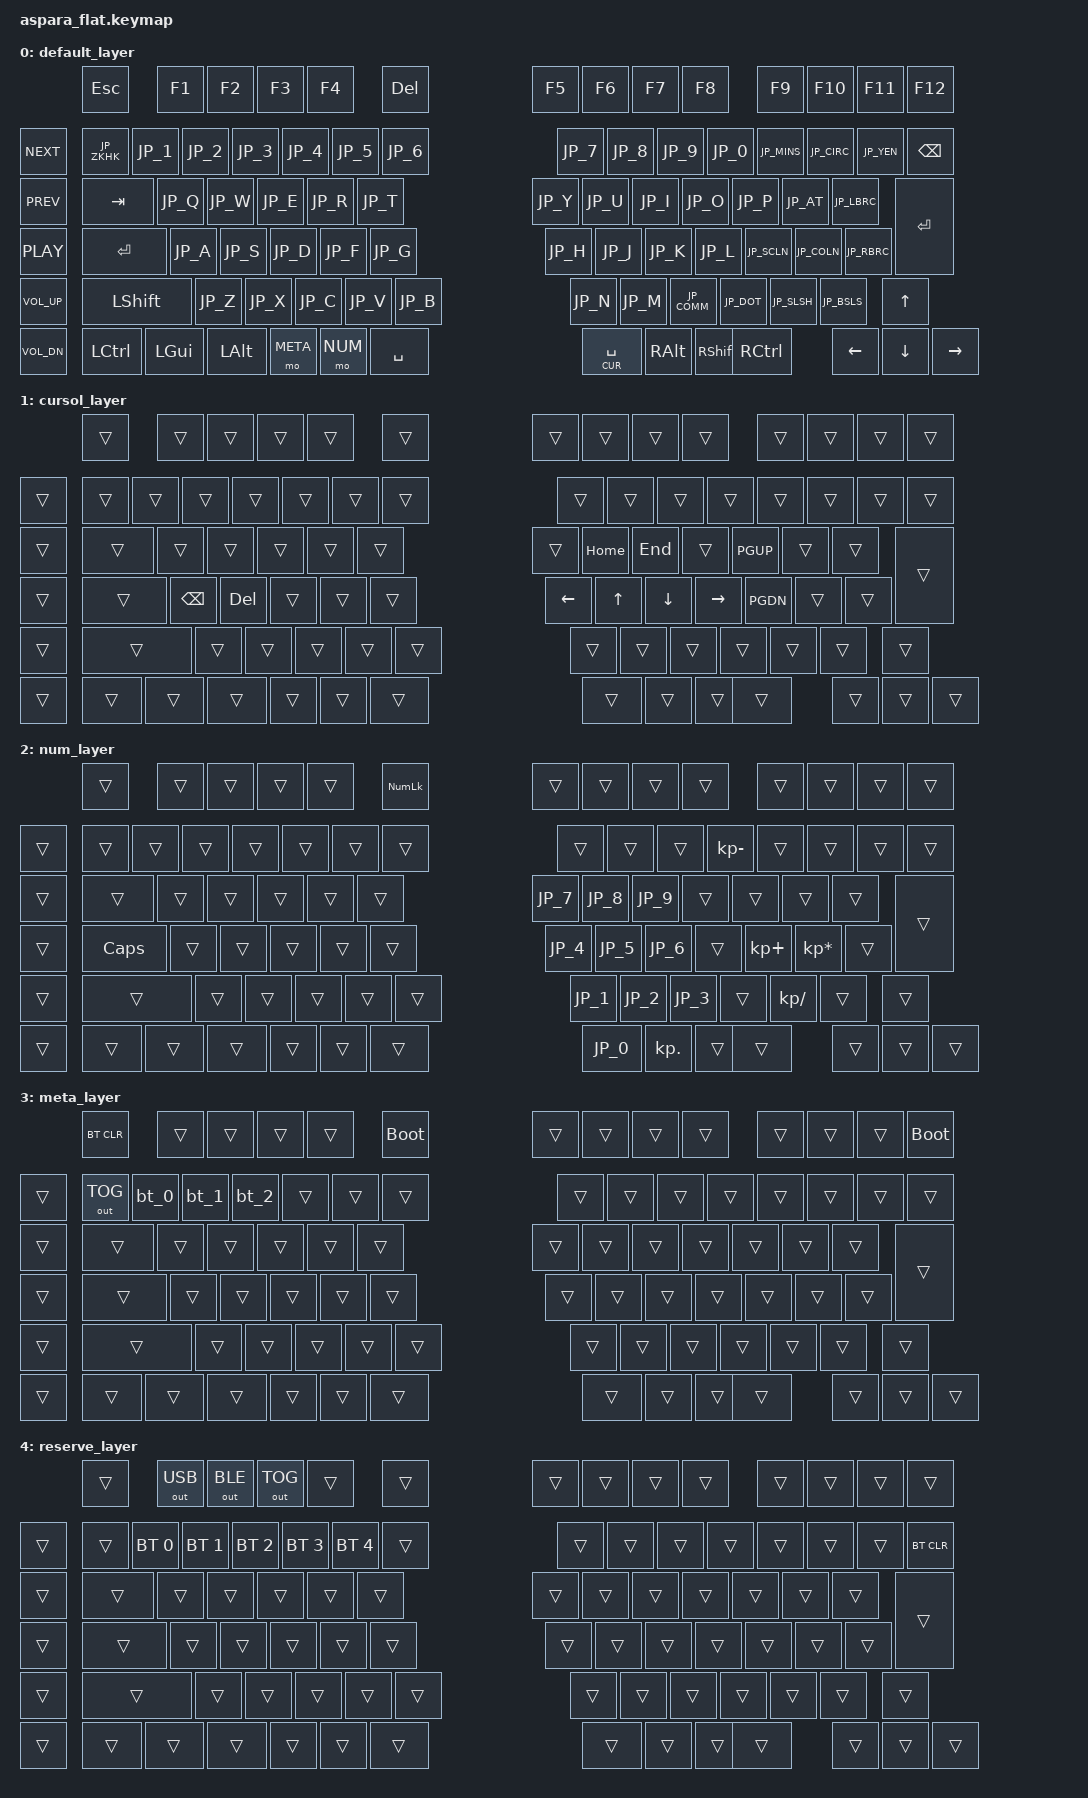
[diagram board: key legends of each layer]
/*
 * Copyright (c) 2026
 *
 * SPDX-License-Identifier: MIT
 */

#include <behaviors.dtsi>
#include <dt-bindings/zmk/keys_jp_aliases.h>
#include <dt-bindings/zmk/outputs.h>
#include <dt-bindings/zmk/bt.h>

#define DEF 0
#define CUR 1
#define NUM 2
#define META 3

/ {
        macros {
        bt_0: bt_profile_macro_0 {
            compatible = "zmk,behavior-macro";
            #binding-cells = <0>;
            bindings
                = <&out OUT_BLE>,
                  <&bt BT_SEL 0>;
        };

        bt_1: bt_profile_macro_1 {
            compatible = "zmk,behavior-macro";
            #binding-cells = <0>;
            bindings
                = <&out OUT_BLE>,
                  <&bt BT_SEL 1>;
        };

        bt_2: bt_profile_macro_2 {
            compatible = "zmk,behavior-macro";
            #binding-cells = <0>;
            bindings
                = <&out OUT_BLE>,
                  <&bt BT_SEL 2>;
        };
    };

    keymap {
        compatible = "zmk,keymap";

        default_layer {
            bindings = <
                 &kp ESC     &kp F1    &kp F2    &kp F3    &kp F4    &kp DEL                &kp F5    &kp F6    &kp F7      &kp F8     &kp F9      &kp F10     &kp F11     &kp F12
    &kp C_NEXT   &kp JP_ZKHK &kp JP_1  &kp JP_2  &kp JP_3  &kp JP_4  &kp JP_5  &kp JP_6     &kp JP_7  &kp JP_8  &kp JP_9    &kp JP_0   &kp JP_MINS &kp JP_CIRC &kp JP_YEN  &kp BSPC 
    &kp C_PREV   &kp TAB     &kp JP_Q  &kp JP_W  &kp JP_E  &kp JP_R  &kp JP_T               &kp JP_Y  &kp JP_U  &kp JP_I    &kp JP_O   &kp JP_P    &kp JP_AT   &kp JP_LBRC
    &kp C_PLAY   &kp ENTER   &kp JP_A  &kp JP_S  &kp JP_D  &kp JP_F  &kp JP_G               &kp JP_H  &kp JP_J  &kp JP_K    &kp JP_L   &kp JP_SCLN &kp JP_COLN &kp JP_RBRC &kp ENTER
    &kp C_VOL_UP &kp LSHFT   &kp JP_Z  &kp JP_X  &kp JP_C  &kp JP_V  &kp JP_B               &kp JP_N  &kp JP_M  &kp JP_COMM &kp JP_DOT &kp JP_SLSH &kp JP_BSLS             &kp UP
    &kp C_VOL_DN &kp LCTRL   &kp LGUI  &kp LALT  &mo META  &mo NUM   &kp SPACE              &lt CUR SPACE &kp RALT  &kp RSHIFT  &kp RCTRL                         &kp LEFT &kp DOWN &kp RIGHT
            >;
        };

        cursol_layer{
            bindings = <
                 &trans      &trans    &trans    &trans    &trans    &trans                 &trans    &trans    &trans      &trans     &trans      &trans      &trans      &trans
    &trans       &trans      &trans    &trans    &trans    &trans    &trans    &trans       &trans    &trans    &trans      &trans     &trans      &trans      &trans      &trans
    &trans       &trans      &trans    &trans    &trans    &trans    &trans                 &trans    &kp HOME  &kp END     &trans     &kp PGUP    &trans      &trans
    &trans       &trans      &kp BSPC  &kp DEL   &trans    &trans    &trans                 &kp LEFT  &kp UP    &kp DOWN    &kp RIGHT  &kp PGDN    &trans      &trans      &trans
    &trans       &trans      &trans    &trans    &trans    &trans    &trans                 &trans    &trans    &trans      &trans     &trans      &trans                  &trans
    &trans       &trans      &trans    &trans    &trans    &trans    &trans                 &trans    &trans    &trans      &trans                                  &trans &trans &trans
            >;
        };

        num_layer{
            bindings = <
                 &trans      &trans    &trans    &trans    &trans    &kp KP_NUMLOCK         &trans    &trans     &trans     &trans      &trans     &trans      &trans      &trans
    &trans       &trans      &trans    &trans    &trans    &trans    &trans    &trans       &trans    &trans     &trans     &kp KP_MINUS &trans    &trans      &trans      &trans
    &trans       &trans      &trans    &trans    &trans    &trans    &trans                 &kp JP_7  &kp JP_8   &kp JP_9   &trans      &trans     &trans      &trans
    &trans       &kp CAPS    &trans    &trans    &trans    &trans    &trans                 &kp JP_4  &kp JP_5   &kp JP_6   &trans      &kp KP_PLUS &kp KP_ASTERISK &trans  &trans
    &trans       &trans      &trans    &trans    &trans    &trans    &trans                 &kp JP_1  &kp JP_2   &kp JP_3   &trans      &kp KP_SLASH &trans                 &trans
    &trans       &trans      &trans    &trans    &trans    &trans    &trans                 &kp JP_0  &kp KP_DOT &trans     &trans                                   &trans &trans &trans
            >;
        };

        meta_layer {
            bindings = <
                 &bt BT_CLR  &trans    &trans    &trans    &trans    &bootloader            &trans    &trans    &trans      &trans     &trans      &trans      &trans      &bootloader
    &trans       &out OUT_TOG &bt_0    &bt_1     &bt_2     &trans    &trans    &trans       &trans    &trans    &trans      &trans     &trans      &trans      &trans      &trans
    &trans       &trans      &trans    &trans    &trans    &trans    &trans                 &trans    &trans    &trans      &trans     &trans      &trans      &trans
    &trans       &trans      &trans    &trans    &trans    &trans    &trans                 &trans    &trans    &trans      &trans     &trans      &trans      &trans      &trans
    &trans       &trans      &trans    &trans    &trans    &trans    &trans                 &trans    &trans    &trans      &trans     &trans      &trans                  &trans
    &trans       &trans      &trans    &trans    &trans    &trans    &trans                 &trans    &trans    &trans      &trans                                  &trans &trans &trans
            >;
        };

        reserve_layer{
            bindings = <
                        &trans &out OUT_USB &out OUT_BLE &out OUT_TOG &trans       &trans       &trans &trans &trans &trans &trans &trans &trans &trans
                &trans  &trans &bt BT_SEL 0 &bt BT_SEL 1 &bt BT_SEL 2 &bt BT_SEL 3 &bt BT_SEL 4 &trans &trans &trans &trans &trans &trans &trans &trans  &bt BT_CLR
                &trans  &trans &trans       &trans       &trans       &trans       &trans       &trans &trans &trans &trans &trans &trans &trans
                &trans  &trans &trans       &trans       &trans       &trans       &trans       &trans &trans &trans &trans &trans &trans &trans &trans
                &trans  &trans &trans       &trans       &trans       &trans       &trans       &trans &trans &trans &trans &trans &trans          &trans
                &trans  &trans &trans       &trans       &trans       &trans       &trans       &trans &trans &trans &trans                 &trans &trans &trans
            >;
        };
    };
};
